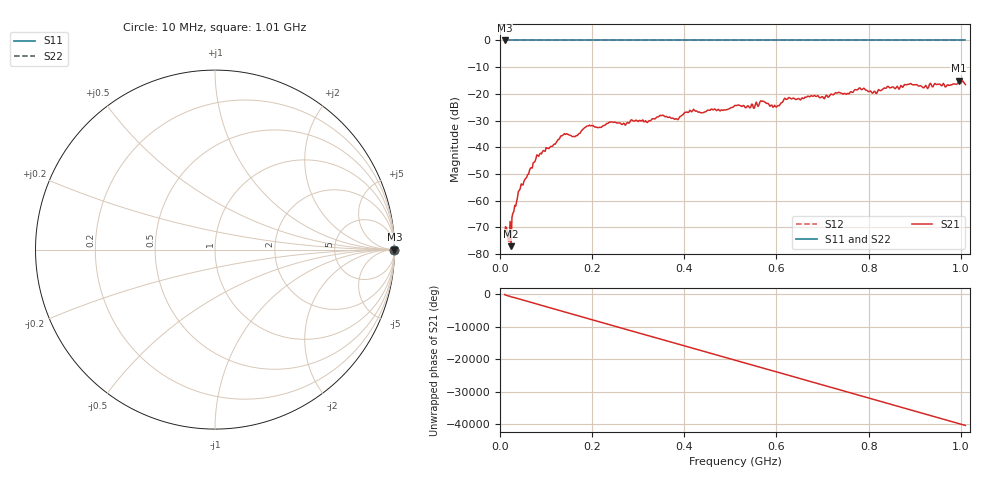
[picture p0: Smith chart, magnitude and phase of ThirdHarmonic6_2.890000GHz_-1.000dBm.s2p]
! 8/17/2025 7:57:20 AM
! C:\ANRITSUVNA\TEMP\TEMP.S2P
! CHANNEL.1
! TR.MEASUREMENT
! RAW.DATA
! RF.CORRECTION.OFF
! AVERAGING.OFF
! IF.BANDWIDTH: 5KHZ
! SWEEPTYPE:  FREQ.SWEEP(Linear)
! Reference Plane Port Info
! PORT:  PORT1  PORT2
! DISTANCE:  0  m  0  m
! TIME:  0  s  0  s
! PHASE.OFFSET:  0  deg.  0  deg.
! LOSS:  0  dB  0  dB
! REF.LOSS:  0  dB  0  dB
! REF.FREQ:  0  Hz  0  Hz
! Power Info
! POWER:  -20  dBm  -20  dBm
! EFF.POWER:  -20  dBm  -20  dBm
! SOURCE.ATTEN:  0  dB  0  dB
! TEST.ATTEN:  0  dB  0  dB
# GHZ S RI R 50.0
! FREQ.GHZ  S11RE  S11IM  S21RE  S21IM  S12RE  S12IM  S22RE  S22IM
!; PortSelection: Port_12
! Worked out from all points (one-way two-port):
!   501 points, 10 MHz to 1.01 GHz, reference 50 ohm
!   highest |S21| = -15.08 dB at 996 MHz (marker M1); lowest = -77.0 dB at 24 MHz (marker M2)
!   lowest |S11| = 0.0 dB at 10 MHz (marker M3)
!   |S11| at or under -10 dB: nowhere
!   |S22| runs from 0.0 to 0.0 dB; largest |S21 - S12| = 1.2
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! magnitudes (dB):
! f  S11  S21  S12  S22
! 10 MHz  0.0  -72.5  0.0  0.0
! 20 MHz  0.0  -75.1  0.0  0.0
! 24 MHz  0.0  -77.0  0.0  0.0
! 30 MHz  0.0  -64.0  0.0  0.0
! 44 MHz  0.0  -55.4  0.0  0.0
! 82 MHz  0.0  -43.1  0.0  0.0
! 136 MHz  0.0  -35.5  0.0  0.0
! 162 MHz  0.0  -36.1  0.0  0.0
! 178 MHz  0.0  -33.6  0.0  0.0
! 344 MHz  0.0  -28.6  0.0  0.0
! 382 MHz  0.0  -29.3  0.0  0.0
! 416 MHz  0.0  -26.7  0.0  0.0
! 510 MHz  0.0  -24.3  0.0  0.0
! 570 MHz  0.0  -22.7  0.0  0.0
! 596 MHz  0.0  -24.3  0.0  0.0
! 622 MHz  0.0  -22.1  0.0  0.0
! 678 MHz  0.0  -20.9  0.0  0.0
! 780 MHz  0.0  -17.8  0.0  0.0
! 814 MHz  0.0  -19.1  0.0  0.0
! 844 MHz  0.0  -17.5  0.0  0.0
! 996 MHz  0.0  -15.1  0.0  0.0
! 1.01 GHz  0.0  -16.5  0.0  0.0
